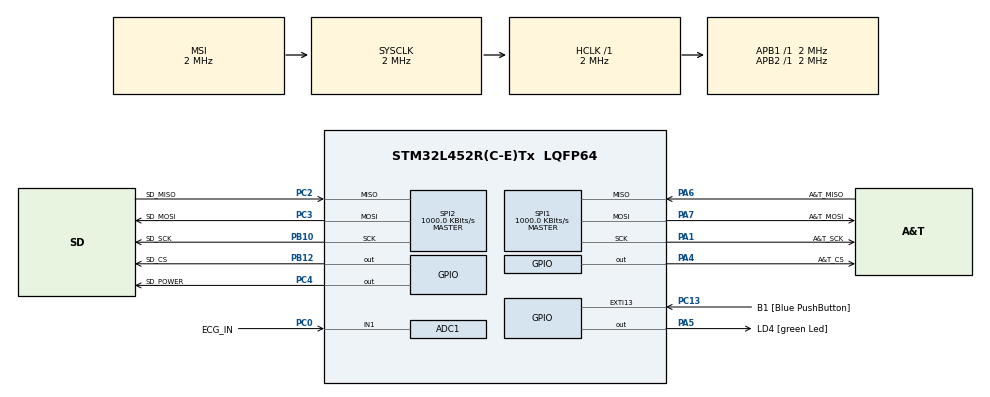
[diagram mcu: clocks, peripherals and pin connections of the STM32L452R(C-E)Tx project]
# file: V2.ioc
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ADC1.Channel-57\#ChannelRegularConversion=ADC_CHANNEL_1
ADC1.ClockPrescaler=ADC_CLOCK_ASYNC_DIV1
ADC1.ContinuousConvMode=DISABLE
ADC1.DMAContinuousRequests=DISABLE
ADC1.DataAlign=ADC_DATAALIGN_RIGHT
ADC1.DiscontinuousConvMode=DISABLE
ADC1.EOCSelection=ADC_EOC_SINGLE_CONV
ADC1.EnableAnalogWatchDog1=false
ADC1.EnableAnalogWatchDog2=false
ADC1.EnableAnalogWatchDog3=false
ADC1.EnableInjectedConversion=DISABLE
ADC1.EnableRegularConversion=ENABLE
ADC1.ExternalTrigConv=ADC_SOFTWARE_START
ADC1.ExternalTrigConvEdge=ADC_EXTERNALTRIGCONVEDGE_NONE
ADC1.LowPowerAutoWait=DISABLE
ADC1.NbrOfConversion=1
ADC1.NbrOfConversionFlag=1
ADC1.OffsetNumber-57\#ChannelRegularConversion=ADC_OFFSET_NONE
ADC1.Overrun=ADC_OVR_DATA_PRESERVED
ADC1.OversamplingMode=DISABLE
ADC1.Rank-57\#ChannelRegularConversion=1
ADC1.Resolution=ADC_RESOLUTION_12B
ADC1.SamplingTime-57\#ChannelRegularConversion=ADC_SAMPLETIME_2CYCLES_5
ADC1.ScanConvMode=ADC_SCAN_DISABLE
ADC1.master=1
LPTIM1.ClockPrescaler=LPTIM_PRESCALER_DIV32
LPTIM2.ClockPrescaler=LPTIM_PRESCALER_DIV32
Mcu.Family=STM32L4
Mcu.Name=STM32L452R(C-E)Tx
Mcu.Package=LQFP64
NVIC.LPTIM1_IRQn=true\:0\:0\:false\:false\:true\:true
NVIC.LPTIM2_IRQn=true\:0\:0\:false\:false\:true\:true
NVIC.PriorityGroup=NVIC_PRIORITYGROUP_4
NVIC.TIM2_IRQn=true\:0\:0\:false\:false\:true\:true
PA1.GPIO_Label=A&T_SCK
PA1.Mode=Full_Duplex_Master
PA1.Signal=SPI1_SCK
PA13\ (JTMS/SWDIO).GPIO_Label=TMS
PA13\ (JTMS/SWDIO).Signal=SYS_JTMS-SWDIO
PA14\ (JTCK/SWCLK).GPIO_Label=TCK
PA14\ (JTCK/SWCLK).Signal=SYS_JTCK-SWCLK
PA2.GPIO_Label=USART_TX
PA2.GPIO_Mode=GPIO_MODE_AF_PP
PA2.GPIO_PuPd=GPIO_NOPULL
PA2.GPIO_Speed=GPIO_SPEED_FREQ_VERY_HIGH
PA2.Signal=USART2_TX
PA3.GPIO_Label=USART_RX
PA3.GPIO_Mode=GPIO_MODE_AF_PP
PA3.GPIO_PuPd=GPIO_NOPULL
PA3.GPIO_Speed=GPIO_SPEED_FREQ_VERY_HIGH
PA3.Signal=USART2_RX
PA4.GPIO_Label=A&T_CS
PA4.Signal=GPIO_Output
PA5.GPIO_Label=LD4 [green Led]
PA5.GPIO_ModeDefaultOutputPP=GPIO_MODE_OUTPUT_PP
PA5.GPIO_PuPd=GPIO_NOPULL
PA5.GPIO_Speed=GPIO_SPEED_FREQ_LOW
PA5.Signal=GPIO_Output
PA6.GPIO_Label=A&T_MISO
PA6.Mode=Full_Duplex_Master
PA6.Signal=SPI1_MISO
PA7.GPIO_Label=A&T_MOSI
PA7.Mode=Full_Duplex_Master
PA7.Signal=SPI1_MOSI
PB10.GPIO_Label=SD_SCK
PB10.Mode=Full_Duplex_Master
PB10.Signal=SPI2_SCK
PB12.GPIO_Label=SD_CS
PB12.Signal=GPIO_Output
PB3\ (JTDO/TRACESWO).GPIO_Label=SWO
PB3\ (JTDO/TRACESWO).Signal=SYS_JTDO-SWO
PC0.GPIO_Label=ECG_IN
PC0.Signal=ADCx_IN1
PC13.GPIO_Label=B1 [Blue PushButton]
PC13.GPIO_ModeDefaultEXTI=GPIO_MODE_IT_FALLING
PC13.GPIO_PuPd=GPIO_NOPULL
PC13.Signal=GPXTI13
PC14-OSC32_IN\ (PC14).Signal=RCC_OSC32_IN
PC15-OSC32_OUT\ (PC15).Signal=RCC_OSC32_OUT
PC2.GPIO_Label=SD_MISO
PC2.Mode=Full_Duplex_Master
PC2.Signal=SPI2_MISO
PC3.GPIO_Label=SD_MOSI
PC3.Mode=Full_Duplex_Master
PC3.Signal=SPI2_MOSI
PC4.GPIO_Label=SD_POWER
PC4.Signal=GPIO_Output
PH0-OSC_IN\ (PH0).Signal=RCC_OSC_IN
PH1-OSC_OUT\ (PH1).Signal=RCC_OSC_OUT
ProjectManager.HeapSize=0x2000
ProjectManager.StackSize=0x400
ProjectManager.TargetToolchain=MDK-ARM V5
RCC.ADCCLockSelection=RCC_ADCCLKSOURCE_SYSCLK
RCC.ADCFreq_Value=2000000
RCC.AHBFreq_Value=2000000
RCC.APB1Freq_Value=2000000
RCC.APB1TimFreq_Value=2000000
RCC.APB2Freq_Value=2000000
RCC.APB2TimFreq_Value=2000000
RCC.CortexFreq_Value=2000000
RCC.HCLKFreq_Value=2000000
RCC.HSE_VALUE=8000000
RCC.HSI48_VALUE=48000000
RCC.HSI_VALUE=16000000
RCC.LPTIM1CLockSelection=RCC_LPTIM1CLKSOURCE_LSI
RCC.LPTIM2CLockSelection=RCC_LPTIM2CLKSOURCE_LSI
RCC.LSE_VALUE=32768
RCC.MSIClockRange=RCC_MSIRANGE_5
RCC.MSI_VALUE=2000000
RCC.PLLR=RCC_PLLR_DIV4
RCC.PLLSAI1R=RCC_PLLR_DIV8
RCC.PLLSourceVirtual=RCC_PLLSOURCE_HSI
RCC.PREFETCH_ENABLE=1
RCC.SYSCLKFreq_VALUE=2000000
RCC.USBFreq_Value=64000000
RCC.VCOOutputFreq_Value=128000000
SH.ADCx_IN1.0=ADC1_IN1,IN1-Single-Ended
SPI1.BaudRatePrescaler=SPI_BAUDRATEPRESCALER_2
SPI1.CalculateBaudRate=1000.0 KBits/s
SPI1.DataSize=SPI_DATASIZE_8BIT
SPI1.Direction=SPI_DIRECTION_2LINES
SPI1.FirstBit=SPI_FIRSTBIT_MSB
SPI1.Mode=SPI_MODE_MASTER
SPI1.NSSPMode=SPI_NSS_PULSE_DISABLE
SPI1.VirtualType=VM_MASTER
SPI2.CLKPhase=SPI_PHASE_2EDGE
SPI2.CLKPolarity=SPI_POLARITY_HIGH
SPI2.CalculateBaudRate=1000.0 KBits/s
SPI2.DataSize=SPI_DATASIZE_8BIT
SPI2.Direction=SPI_DIRECTION_2LINES
SPI2.Mode=SPI_MODE_MASTER
SPI2.VirtualType=VM_MASTER
TIM2.Period=10-1
TIM2.Prescaler=200-1
VP_LPTIM1_VS_LPTIM_counterModeInternalClock.Mode=Counts__internal_clock_event_00
VP_LPTIM2_VS_LPTIM_counterModeInternalClock.Mode=Counts__internal_clock_event_00
VP_RTC_VS_RTC_Activate.Mode=RTC_Enabled
VP_RTC_VS_RTC_Calendar.Mode=RTC_Calendar
VP_TIM2_VS_ClockSourceINT.Mode=Internal
board=NUCLEO-L452RE

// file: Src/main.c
/**
  ******************************************************************************
  * File Name          : main.c
  * Description        : Main program body
  ******************************************************************************
  ** This notice applies to any and all portions of this file
  * that are not between comment pairs USER CODE BEGIN and
  * USER CODE END. Other portions of this file, whether
  * inserted by the user or by software development tools
  * are owned by their respective copyright owners.
  *
  * COPYRIGHT(c) 2018 STMicroelectronics
  *
  * Redistribution and use in source and binary forms, with or without modification,
  * are permitted provided that the following conditions are met:
  *   1. Redistributions of source code must retain the above copyright notice,
  *      this list of conditions and the following disclaimer.
  *   2. Redistributions in binary form must reproduce the above copyright notice,
  *      this list of conditions and the following disclaimer in the documentation
  *      and/or other materials provided with the distribution.
  *   3. Neither the name of STMicroelectronics nor the names of its contributors
  *      may be used to endorse or promote products derived from this software
  *      without specific prior written permission.
  *
  * THIS SOFTWARE IS PROVIDED BY THE COPYRIGHT HOLDERS AND CONTRIBUTORS "AS IS"
  * AND ANY EXPRESS OR IMPLIED WARRANTIES, INCLUDING, BUT NOT LIMITED TO, THE
  * IMPLIED WARRANTIES OF MERCHANTABILITY AND FITNESS FOR A PARTICULAR PURPOSE ARE
  * DISCLAIMED. IN NO EVENT SHALL THE COPYRIGHT HOLDER OR CONTRIBUTORS BE LIABLE
  * FOR ANY DIRECT, INDIRECT, INCIDENTAL, SPECIAL, EXEMPLARY, OR CONSEQUENTIAL
  * DAMAGES (INCLUDING, BUT NOT LIMITED TO, PROCUREMENT OF SUBSTITUTE GOODS OR
  * SERVICES; LOSS OF USE, DATA, OR PROFITS; OR BUSINESS INTERRUPTION) HOWEVER
  * CAUSED AND ON ANY THEORY OF LIABILITY, WHETHER IN CONTRACT, STRICT LIABILITY,
  * OR TORT (INCLUDING NEGLIGENCE OR OTHERWISE) ARISING IN ANY WAY OUT OF THE USE
  * OF THIS SOFTWARE, EVEN IF ADVISED OF THE POSSIBILITY OF SUCH DAMAGE.
  *
  ******************************************************************************
  */
#include "main.h"
#include "stm32l4xx_hal.h"
#include "adc.h"
#include "lptim.h"
#include "rtc.h"
#include "spi.h"
#include "tim.h"
#include "gpio.h"

/* USER CODE BEGIN Includes */
#include "ADXL362.h"
#include "sys_Value.h"
#include "SD.h"
#include "FATFS.h"

/* USER CODE END Includes */

/* USER CODE BEGIN PV */
/* Private variables ---------------------------------------------------------*/

/* USER CODE END PV */

void SystemClock_Config(void);

/* USER CODE BEGIN PFP */
/* Private function prototypes -----------------------------------------------*/
void Sys_Conrtol(void);
void Collection_Init(void);
void Collection_off(void);
void RTC_Collection(void);
void Timers_On(void);
void Timers_Off(void);
void ECG_Collection(void);
void ACCE_T_Collection(void);
void Data_Pack(void);
void Data_Trans(void);
void Mode_Sleep(void);
void Mode_Active(void);
/* USER CODE END PFP */

int main(void)
{

  /* MCU Configuration----------------------------------------------------------*/

  /* Reset of all peripherals, Initializes the Flash interface and the Systick. */
  HAL_Init();

  /* Configure the system clock */
  SystemClock_Config();

  /* Initialize all configured peripherals */
  MX_GPIO_Init();
  MX_SPI1_Init();
  MX_SPI2_Init();
  MX_LPTIM1_Init();
  MX_LPTIM2_Init();
  MX_TIM2_Init();
  MX_RTC_Init();
  MX_ADC1_Init();

  /* USER CODE BEGIN 2 */
  Timer_ndays_On();  // start the surgery dealy

  /* USER CODE END 2 */

  /* Infinite loop */
  while (1)
  {

  /* USER CODE BEGIN 3 */
  //Sys_Conrtol();
//	  uint8_t txt[10] = {1,2,3,4,5,6,7,8,9,10};
//
//	  SD_Init();
//	  counter3 = SD_GetSectorCount();
	  FATFS_Test();

//	  SD_WriteDisk(txt, 1, 1);
//	  for(int i = 0; i < 10; i++)
//	  {
//		  txt[i] = 0;
//	  }
//	  SD_ReadDisk(txt, 1, 1);
	 while(1);

  }
  /* USER CODE END 3 */

}

/** System Clock Configuration
*/
void SystemClock_Config(void)
{

  RCC_OscInitTypeDef RCC_OscInitStruct;
  RCC_ClkInitTypeDef RCC_ClkInitStruct;
  RCC_PeriphCLKInitTypeDef PeriphClkInit;

    /**Initializes the CPU, AHB and APB busses clocks
    */
  RCC_OscInitStruct.OscillatorType = RCC_OSCILLATORTYPE_LSI|RCC_OSCILLATORTYPE_MSI;
  RCC_OscInitStruct.LSIState = RCC_LSI_ON;
  RCC_OscInitStruct.MSIState = RCC_MSI_ON;
  RCC_OscInitStruct.MSICalibrationValue = 0;
  RCC_OscInitStruct.MSIClockRange = RCC_MSIRANGE_5;
  RCC_OscInitStruct.PLL.PLLState = RCC_PLL_NONE;
  if (HAL_RCC_OscConfig(&RCC_OscInitStruct) != HAL_OK)
  {
    _Error_Handler(__FILE__, __LINE__);
  }

    /**Initializes the CPU, AHB and APB busses clocks
    */
  RCC_ClkInitStruct.ClockType = RCC_CLOCKTYPE_HCLK|RCC_CLOCKTYPE_SYSCLK
                              |RCC_CLOCKTYPE_PCLK1|RCC_CLOCKTYPE_PCLK2;
  RCC_ClkInitStruct.SYSCLKSource = RCC_SYSCLKSOURCE_MSI;
  RCC_ClkInitStruct.AHBCLKDivider = RCC_SYSCLK_DIV1;
  RCC_ClkInitStruct.APB1CLKDivider = RCC_HCLK_DIV1;
  RCC_ClkInitStruct.APB2CLKDivider = RCC_HCLK_DIV1;

  if (HAL_RCC_ClockConfig(&RCC_ClkInitStruct, FLASH_LATENCY_0) != HAL_OK)
  {
    _Error_Handler(__FILE__, __LINE__);
  }

  PeriphClkInit.PeriphClockSelection = RCC_PERIPHCLK_RTC|RCC_PERIPHCLK_LPTIM1
                              |RCC_PERIPHCLK_LPTIM2|RCC_PERIPHCLK_ADC;
  PeriphClkInit.Lptim1ClockSelection = RCC_LPTIM1CLKSOURCE_LSI;
  PeriphClkInit.Lptim2ClockSelection = RCC_LPTIM2CLKSOURCE_LSI;
  PeriphClkInit.AdcClockSelection = RCC_ADCCLKSOURCE_SYSCLK;
  PeriphClkInit.RTCClockSelection = RCC_RTCCLKSOURCE_LSI;
  if (HAL_RCCEx_PeriphCLKConfig(&PeriphClkInit) != HAL_OK)
  {
    _Error_Handler(__FILE__, __LINE__);
  }

    /**Configure the main internal regulator output voltage
    */
  if (HAL_PWREx_ControlVoltageScaling(PWR_REGULATOR_VOLTAGE_SCALE1) != HAL_OK)
  {
    _Error_Handler(__FILE__, __LINE__);
  }

    /**Configure the Systick interrupt time
    */
  HAL_SYSTICK_Config(HAL_RCC_GetHCLKFreq()/1000);

    /**Configure the Systick
    */
  HAL_SYSTICK_CLKSourceConfig(SYSTICK_CLKSOURCE_HCLK);

  /* SysTick_IRQn interrupt configuration */
  HAL_NVIC_SetPriority(SysTick_IRQn, 0, 0);
}

/* USER CODE BEGIN 4 */
void Sys_Conrtol(void)
{
	switch(sysflag)
	{
		case IDLE:
		{

		}
		break;

		case INIT_SET:
		{
			Timer_ndays_Off();  // stop the surgery delay counter
			Collection_Init();
			RTC_Collection();
			Timer_1hour_On();   // stop / active timer on
			Timers_On();        // data collection timer
			sysflag = IDLE;
		}
		break;

		case ECG:
		{
			ECG_Collection();
			sysflag = IDLE;
		}
		break;

		case ACCE_T:
		{
			ACCE_T_Collection();
			sysflag = ECG;
		}
		break;

		case TRANSDATA:
		{
			Timers_Off();        // data collection timer off
			ACCE_T_Collection(); // last collection
			ECG_Collection();

			Data_Pack();
			Data_Trans();
			Mode_Sleep();
			sysflag = IDLE;
		}
		break;

		case RTC_RESET:
		{
			Collection_Init();
			RTC_Collection();
			Timers_On();
			sysflag = IDLE;
		}
	}

}
void Collection_Init(void)
{
	// system variables
	second = 0;
	milisecond = 0;
	// system mode
	Mode_Active();
	// RTC settings
	RTC_Calibration();
	// spi1 & ADXL362 settings
	ADXL362_Init();

}
void Collection_off(void)
{
	// set ADXL362 to stop mode and set the CS line
	ADXL362_Stop();
}
void RTC_Collection(void)
{
	RTCCounter++; // for testing

	RTC_GetTime(RTCData[second]);
}

void Timers_On(void)
{
	Timer_1ms_On();
}

void Timers_Off(void)
{
	Timer_1ms_Off();
}

void ECG_Collection(void)
{
	ECGCounter++; // for testing
	ECG_GetData(&ECGData[second][milisecond - 1]);
}

void ACCE_T_Collection(void)
{
	ACCECounter++; // for testing

	ACCE_T_GetData(ACCE_TData[second]);
}

void Data_Pack(void)
{
	//
}

void Data_Trans(void)
{
	DatatransCounter++; // for testing
}

void Mode_Sleep(void)
{
	Mode = 0; // for testing
}

void Mode_Active(void)
{
	Mode = 1; // for testing
}

/* USER CODE END 4 */

void _Error_Handler(char * file, int line)
{
  while(1)
  {
  }
}

/************************ (C) COPYRIGHT STMicroelectronics *****END OF FILE****/
